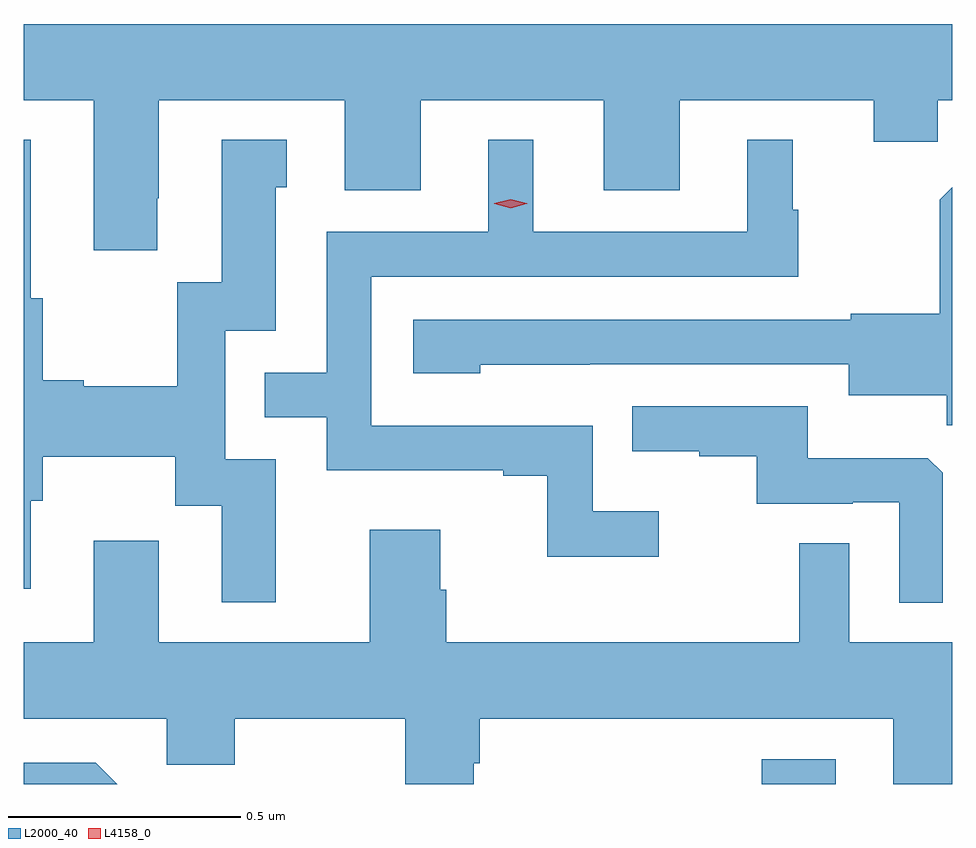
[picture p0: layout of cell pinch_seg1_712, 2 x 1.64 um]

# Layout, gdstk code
import gdstk
lib = gdstk.Library(unit=1e-6, precision=1e-09)
def R(c, l, rs):  # rectangles x0, y0, x1, y1
    for r in rs: c.add(gdstk.rectangle(r[:2], r[2:], *l))
def P(c, l, *ps):  # polygons
    for p in ps: c.add(gdstk.Polygon(p, *l))
L2000_40 = (2000, 40)
L4158_0 = (4158, 0)

pinch_seg1_712 = lib.new_cell('pinch_seg1_712')
R(pinch_seg1_712, L2000_40, [(748.786,552.923,748.945,552.976)])
P(pinch_seg1_712, L2000_40, [(747.484,554.185),(747.487,554.185),(747.487,554.396),(747.887,554.396),(747.887,554.202),(748.051,554.202),(748.051,554.396),(748.445,554.396),(748.445,554.202),(748.609,554.202),(748.609,554.396),(749.027,554.396),(749.027,554.306),(749.165,554.306),(749.165,554.396),(749.196,554.396),(749.196,554.56),(747.196,554.56),(747.196,554.396),(747.347,554.396),(747.347,554.073),(747.484,554.073)],
  [(747.739,553.623),(747.63,553.623),(747.63,553.899),(747.739,553.899),(747.739,554.208),(747.763,554.208),(747.763,554.311),(747.623,554.311),(747.623,554.004),(747.527,554.004),(747.527,553.78),(747.325,553.78),(747.325,553.793),(747.237,553.793),(747.237,553.969),(747.211,553.969),(747.211,554.311),(747.196,554.311),(747.196,553.344),(747.211,553.344),(747.211,553.533),(747.237,553.533),(747.237,553.628),(747.522,553.628),(747.522,553.522),(747.623,553.522),(747.623,553.314),(747.739,553.314)],
  [(748.564,553.51),(748.422,553.51),(748.422,553.695),(747.945,553.695),(747.945,554.016),(748.864,554.016),(748.864,554.16),(748.852,554.16),(748.852,554.311),(748.754,554.311),(748.754,554.112),(748.294,554.112),(748.294,554.311),(748.196,554.311),(748.196,554.112),(747.849,554.112),(747.849,553.809),(747.715,553.809),(747.715,553.713),(747.849,553.713),(747.849,553.599),(748.229,553.599),(748.229,553.587),(748.324,553.587),(748.324,553.412),(748.564,553.412)],
  [(749.196,554.208),(749.169,554.181),(749.169,553.936),(748.977,553.936),(748.977,553.923),(748.035,553.923),(748.035,553.808),(748.179,553.808),(748.179,553.826),(748.415,553.826),(748.415,553.827),(748.973,553.827),(748.973,553.76),(749.184,553.76),(749.184,553.696),(749.196,553.696)],
  [(749.175,553.593),(749.143,553.625),(748.885,553.625),(748.885,553.737),(748.507,553.737),(748.507,553.64),(748.651,553.64),(748.651,553.629),(748.775,553.629),(748.775,553.527),(748.982,553.527),(748.982,553.53),(749.082,553.53),(749.082,553.313),(749.175,553.313)],
  [(748.165,552.968),(748.178,552.968),(748.178,553.064),(749.069,553.064),(749.069,552.923),(749.196,552.923),(749.196,553.228),(748.974,553.228),(748.974,553.442),(748.866,553.442),(748.866,553.228),(748.106,553.228),(748.106,553.341),(748.093,553.341),(748.093,553.471),(747.941,553.471),(747.941,553.228),(747.487,553.228),(747.487,553.447),(747.347,553.447),(747.347,553.228),(747.196,553.228),(747.196,553.064),(747.504,553.064),(747.504,552.965),(747.651,552.965),(747.651,553.064),(748.018,553.064),(748.018,552.923),(748.165,552.923)],
  [(747.351,552.969),(747.196,552.969),(747.196,552.923),(747.397,552.923)])
P(pinch_seg1_712, L4158_0, [(748.245,554.163),(748.21,554.173),(748.209,554.173),(748.21,554.174),(748.245,554.183),(748.28,554.174),(748.281,554.173),(748.28,554.173)])

lib.write_gds('pinch_seg1_712.gds')
